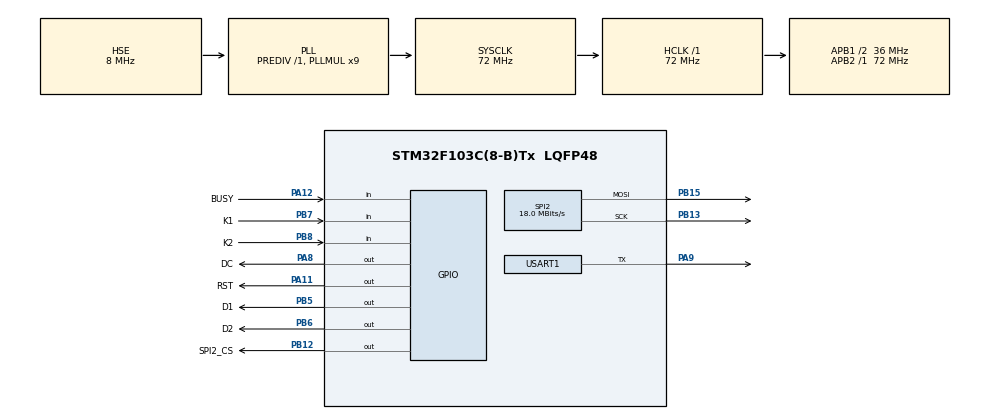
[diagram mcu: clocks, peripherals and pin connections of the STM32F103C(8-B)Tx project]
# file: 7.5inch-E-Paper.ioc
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Mcu.Family=STM32F1
Mcu.Name=STM32F103C(8-B)Tx
Mcu.Package=LQFP48
NVIC.PriorityGroup=NVIC_PRIORITYGROUP_4
PA11.GPIO_Label=RST
PA11.Signal=GPIO_Output
PA12.GPIO_Label=BUSY
PA12.GPIO_PuPd=GPIO_PULLDOWN
PA12.Signal=GPIO_Input
PA8.GPIO_Label=DC
PA8.Signal=GPIO_Output
PA9.Mode=Half_duplex(single_wire_mode)
PA9.Signal=USART1_TX
PB12.GPIO_Label=SPI2_CS
PB12.Signal=GPIO_Output
PB13.Mode=TX_Only_Simplex_Unidirect_Master
PB13.Signal=SPI2_SCK
PB15.Mode=TX_Only_Simplex_Unidirect_Master
PB15.Signal=SPI2_MOSI
PB5.GPIO_Label=D1
PB5.Signal=GPIO_Output
PB6.GPIO_Label=D2
PB6.Signal=GPIO_Output
PB7.GPIO_Label=K1
PB7.GPIO_PuPd=GPIO_PULLUP
PB7.Signal=GPIO_Input
PB8.GPIO_Label=K2
PB8.GPIO_PuPd=GPIO_PULLUP
PB8.Signal=GPIO_Input
PD0-OSC_IN.Mode=HSE-External-Oscillator
PD0-OSC_IN.Signal=RCC_OSC_IN
PD1-OSC_OUT.Mode=HSE-External-Oscillator
PD1-OSC_OUT.Signal=RCC_OSC_OUT
ProjectManager.HeapSize=0x200
ProjectManager.StackSize=0x400
ProjectManager.TargetToolchain=MDK-ARM V5.32
RCC.AHBFreq_Value=72000000
RCC.APB1CLKDivider=RCC_HCLK_DIV2
RCC.APB1Freq_Value=36000000
RCC.APB1TimFreq_Value=72000000
RCC.APB2Freq_Value=72000000
RCC.APB2TimFreq_Value=72000000
RCC.HCLKFreq_Value=72000000
RCC.PLLMUL=RCC_PLL_MUL9
RCC.PLLSourceVirtual=RCC_PLLSOURCE_HSE
RCC.SYSCLKFreq_VALUE=72000000
RCC.SYSCLKSource=RCC_SYSCLKSOURCE_PLLCLK
RCC.USBFreq_Value=72000000
SPI2.CalculateBaudRate=18.0 MBits/s
SPI2.Direction=SPI_DIRECTION_2LINES
SPI2.Mode=SPI_MODE_MASTER
SPI2.VirtualType=VM_MASTER
USART1.Mode=MODE_TX
USART1.VirtualMode=VM_ASYNC
VP_SYS_VS_ND.Mode=No_Debug
board=custom

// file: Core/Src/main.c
/* USER CODE BEGIN Header */
/**
  ******************************************************************************
  * @file           : main.c
  * @brief          : Main program body
  ******************************************************************************
  * @attention
  *
  * Copyright (c) 2023 STMicroelectronics.
  * All rights reserved.
  *
  * This software is licensed under terms that can be found in the LICENSE file
  * in the root directory of this software component.
  * If no LICENSE file comes with this software, it is provided AS-IS.
  *
  ******************************************************************************
  */
/* USER CODE END Header */
#include "main.h"
#include "spi.h"
#include "usart.h"
#include "gpio.h"

/* USER CODE BEGIN Includes */
#include <stdint.h>
#include <stdio.h>
#include "ap_75demo.h"
#include "7inch5_epd.h"
#include "gui.h"
/* USER CODE END Includes */

/* USER CODE BEGIN PV */
unsigned char image[48000];//Define canvas space

/* USER CODE END PV */

void SystemClock_Config(void);
/* USER CODE BEGIN PFP */
void Sys_Enter_Standby(void);
/* USER CODE END PFP */

/* USER CODE BEGIN 0 */
/****************************
* PB12-----SPI2_NSS
* PB13-----SPI2_SCK
* PB15-----SPI2_MOSI
* PA8------DC
* PA11-----RST
* PA12-----BUSY
***************************/
/* USER CODE END 0 */

int main(void)
{

  /* MCU Configuration--------------------------------------------------------*/

  /* Reset of all peripherals, Initializes the Flash interface and the Systick. */
  HAL_Init();

  /* Configure the system clock */
  SystemClock_Config();

  /* Initialize all configured peripherals */
  MX_GPIO_Init();
  MX_SPI2_Init();
  MX_USART1_UART_Init();

  /* Infinite loop */
  /* USER CODE BEGIN WHILE */
  while (1)
  {
      unsigned char i;
      EPD_Init(); //Full screen refresh initialization.
      EPD_WhiteScreen_White(); //Clear screen function.
      //EPD_DeepSleep(); //Enter the sleep mode and please do not delete it, otherwise it will reduce the lifespan of the screen.
      HAL_Delay(2000); //Delay for 2s.

      EPD_Init(); //Full screen refresh initialization.
      EPD_Dis_PartAll(200,120,gImage_1,240,400); //To Display one image using full screen refresh.
      EPD_DeepSleep(); //Enter the sleep mode and please do not delete it, otherwise it will reduce the lifespan of the screen.
      HAL_Delay(2000); //Delay for 2s.

      EPD_Init(); //Full screen refresh initialization.
      EPD_WhiteScreen_White(); //Clear screen function.
      HAL_Delay(1000); //Delay for 2s.
      EPD_Dis_PartAll(200,120,gImage_2,240,400); //To Display one image using full screen refresh.
      EPD_DeepSleep(); //Enter the sleep mode and please do not delete it, otherwise it will reduce the lifespan of the screen.
      HAL_Delay(2000); //Delay for 2s.

      EPD_Init(); //Electronic paper initialization.
      EPD_WhiteScreen_White_Basemap();
      EPD_Init_Part(); //Pa refresh initialization.
      for(i=0;i<6;i++)
      {
         EPD_Dis_Part_Time(240,180,Num[1],Num[0],gImage_numdot,Num[0],Num[i],5,104,48); //x,y,DATA-A~E,Resolution 48*104
      }
      EPD_DeepSleep();  //Enter the sleep mode and please do not delete it, otherwise it will reduce the lifespan of the screen.
      HAL_Delay(2000); //Delay for 2s.

      EPD_Init(); //Full screen refresh initialization.
      EPD_WhiteScreen_White(); //Clear screen function.
      HAL_Delay(1000); //Delay for 2s.
      while(1);  // The program stops here
    while(1);  // The program stops here
    /* USER CODE END WHILE */

  }
}

void SystemClock_Config(void)
{
  RCC_OscInitTypeDef RCC_OscInitStruct = {0};
  RCC_ClkInitTypeDef RCC_ClkInitStruct = {0};

  /** Initializes the RCC Oscillators according to the specified parameters
  * in the RCC_OscInitTypeDef structure.
  */
  RCC_OscInitStruct.OscillatorType = RCC_OSCILLATORTYPE_HSE;
  RCC_OscInitStruct.HSEState = RCC_HSE_ON;
  RCC_OscInitStruct.HSEPredivValue = RCC_HSE_PREDIV_DIV1;
  RCC_OscInitStruct.HSIState = RCC_HSI_ON;
  RCC_OscInitStruct.PLL.PLLState = RCC_PLL_ON;
  RCC_OscInitStruct.PLL.PLLSource = RCC_PLLSOURCE_HSE;
  RCC_OscInitStruct.PLL.PLLMUL = RCC_PLL_MUL9;
  if (HAL_RCC_OscConfig(&RCC_OscInitStruct) != HAL_OK)
  {
    Error_Handler();
  }

  /** Initializes the CPU, AHB and APB buses clocks
  */
  RCC_ClkInitStruct.ClockType = RCC_CLOCKTYPE_HCLK|RCC_CLOCKTYPE_SYSCLK
                              |RCC_CLOCKTYPE_PCLK1|RCC_CLOCKTYPE_PCLK2;
  RCC_ClkInitStruct.SYSCLKSource = RCC_SYSCLKSOURCE_PLLCLK;
  RCC_ClkInitStruct.AHBCLKDivider = RCC_SYSCLK_DIV1;
  RCC_ClkInitStruct.APB1CLKDivider = RCC_HCLK_DIV2;
  RCC_ClkInitStruct.APB2CLKDivider = RCC_HCLK_DIV1;

  if (HAL_RCC_ClockConfig(&RCC_ClkInitStruct, FLASH_LATENCY_2) != HAL_OK)
  {
    Error_Handler();
  }
}

/* USER CODE BEGIN 4 */
void Sys_Enter_Standby(void)
{

    __HAL_RCC_PWR_CLK_ENABLE();     //使能PWR时钟

    __HAL_PWR_CLEAR_FLAG(PWR_FLAG_WU);      //清除Wake_UP标志

    HAL_PWR_EnableWakeUpPin(PWR_WAKEUP_PIN1);   //设置WAKEUP用于唤醒

    HAL_PWR_EnterSTANDBYMode();     //进入待机模式

}
/* USER CODE END 4 */

void Error_Handler(void)
{
  __disable_irq();
  while (1)
  {
  }
}
